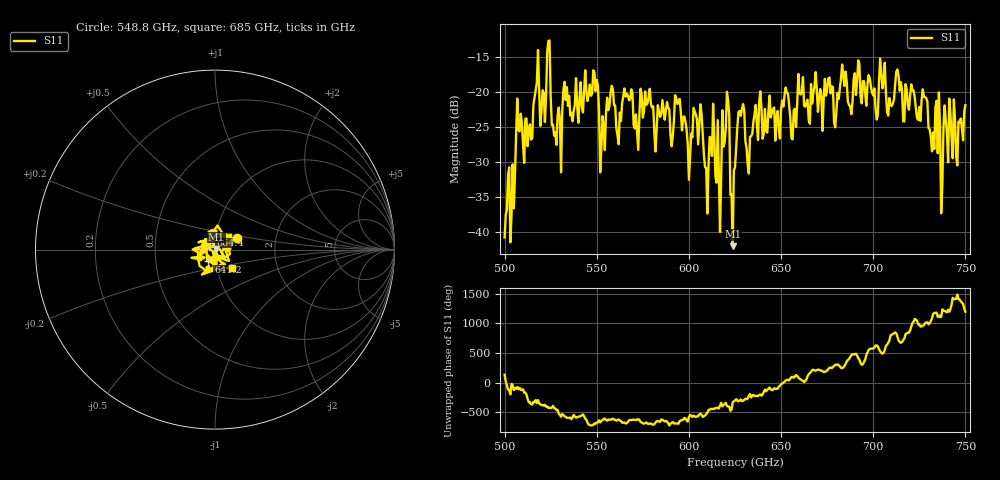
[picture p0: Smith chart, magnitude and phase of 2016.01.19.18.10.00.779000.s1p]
!Created with skrf (http://scikit-rf.org).
# GHz S RI R 50.0
!freq ReS11 ImS11
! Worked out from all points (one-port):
!   401 points, 500 GHz to 750 GHz, reference 50 ohm
!   lowest |S11| = -42.0 dB at 623.8 GHz (marker M1), VSWR 1.02, Z = 50.7 + j0.321 ohm
!   |S11| at or under -10 dB: start of sweep to end of sweep
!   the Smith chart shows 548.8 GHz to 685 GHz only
!   S11 on the Smith chart (normalised r, x): 548.8 GHz: 1.26, +0.17; 641.2 GHz: 0.92, -0.12; 664.4 GHz: 0.94, +0.16; 685 GHz: 1.19, -0.24
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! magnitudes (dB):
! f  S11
! 500 GHz  -40.7
! 507.5 GHz  -25.4
! 513.8 GHz  -24.6
! 517.5 GHz  -18.6
! 531.2 GHz  -22.8
! 548.8 GHz  -17.2
! 553.1 GHz  -23.4
! 557.5 GHz  -20.1
! 562.5 GHz  -22.9
! 593.8 GHz  -21.7
! 600.6 GHz  -29.3
! 606.9 GHz  -23.2
! 609.4 GHz  -30.8
! 612.5 GHz  -29.1
! 616.2 GHz  -31.7
! 620.6 GHz  -20.0
! 623.8 GHz  -42.0
! 625 GHz  -30.8
! 628.1 GHz  -23.4
! 631.9 GHz  -30.3
! 641.2 GHz  -22.4
! 656.2 GHz  -26.7
! 664.4 GHz  -21.1
! 685 GHz  -17.1
! 687.5 GHz  -22.1
! 718.8 GHz  -21.8
! 736.2 GHz  -25.2
! 750 GHz  -21.9
